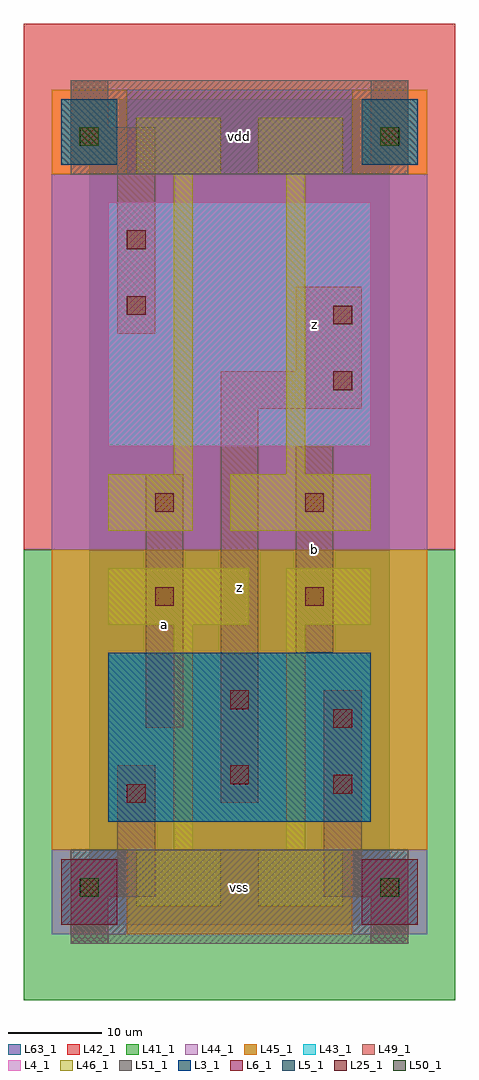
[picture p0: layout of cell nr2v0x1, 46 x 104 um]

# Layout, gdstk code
import gdstk
lib = gdstk.Library(unit=1e-6, precision=1e-09)
def R(c, l, rs):  # rectangles x0, y0, x1, y1
    for r in rs: c.add(gdstk.rectangle(r[:2], r[2:], *l))
L3_1 = (3, 1)
L4_1 = (4, 1)
L5_1 = (5, 1)
L6_1 = (6, 1)
L25_1 = (25, 1)
L41_1 = (41, 1)
L42_1 = (42, 1)
L43_1 = (43, 1)
L44_1 = (44, 1)
L45_1 = (45, 1)
L46_1 = (46, 1)
L49_1 = (49, 1)
L50_1 = (50, 1)
L51_1 = (51, 1)
L63_1 = (63, 1)

nr2v0x1 = lib.new_cell('nr2v0x1')
R(nr2v0x1, L3_1, [(2,11,30,29)])
R(nr2v0x1, L4_1, [(2,51,30,77)])
R(nr2v0x1, L5_1, [(-3,81,3,88), (29,81,35,88)])
R(nr2v0x1, L6_1, [(-3,0,3,7), (-3,0,3,7), (29,0,35,7), (29,0,35,7)])
R(nr2v0x1, L25_1, [(-1,3,1,5), (31,3,33,5), (4,13,6,15), (26,14,28,16), (15,15,17,17), (26,21,28,23), (15,23,17,25), (7,34,9,36), (23,34,25,36), (7,44,9,46), (23,44,25,46), (26,57,28,59), (26,64,28,66), (4,65,6,67), (4,72,6,74), (-1,83,1,85), (31,83,33,85)])
R(nr2v0x1, L41_1, [(-7,-8,39,40)])
R(nr2v0x1, L42_1, [(-7,40,39,96)])
R(nr2v0x1, L43_1, [(-3,0,3,7), (29,0,35,7), (2,11,30,29), (2,51,30,77), (-3,81,3,88), (29,81,35,88)])
R(nr2v0x1, L44_1, [(-4,-1,4,8), (28,-1,36,8), (-4,40,36,80), (4,80,28,89)])
R(nr2v0x1, L45_1, [(4,-1,28,8), (-4,8,36,40), (-4,80,4,89), (28,80,36,89)])
R(nr2v0x1, L46_1, [(5,2,14,8), (18,2,27,8), (9,8,11,32), (21,8,23,32), (2,32,17,38), (21,32,30,38), (2,42,11,48), (15,42,30,48), (9,48,11,80), (21,48,23,80), (5,80,14,86), (18,80,27,86)])
R(nr2v0x1, L49_1, [(-2,-2,2,3), (30,-2,34,3), (-2,3,7,7), (25,3,34,7), (3,7,7,17), (25,7,29,25), (14,13,18,55), (6,21,10,48), (22,29,26,51), (14,55,29,59), (22,59,29,68), (3,63,7,81), (-2,81,7,85), (30,81,34,90), (-2,85,2,90)])
R(nr2v0x1, L50_1, [(-1,3,1,5), (31,3,33,5), (-1,83,1,85), (31,83,33,85)])
R(nr2v0x1, L51_1, [(-2,-2,34,8), (-2,80,34,90)])
R(nr2v0x1, L63_1, [(0,0,32,88)])
nr2v0x1.add(gdstk.Label('a', (8,32), layer=49, texttype=1))
nr2v0x1.add(gdstk.Label('z', (16,36), layer=49, texttype=1))
nr2v0x1.add(gdstk.Label('b', (24,40), layer=49, texttype=1))
nr2v0x1.add(gdstk.Label('z', (24,64), layer=49, texttype=1))
nr2v0x1.add(gdstk.Label('vss', (16,4), layer=51, texttype=1))
nr2v0x1.add(gdstk.Label('vdd', (16,84), layer=51, texttype=1))

lib.write_gds('nr2v0x1.gds')
